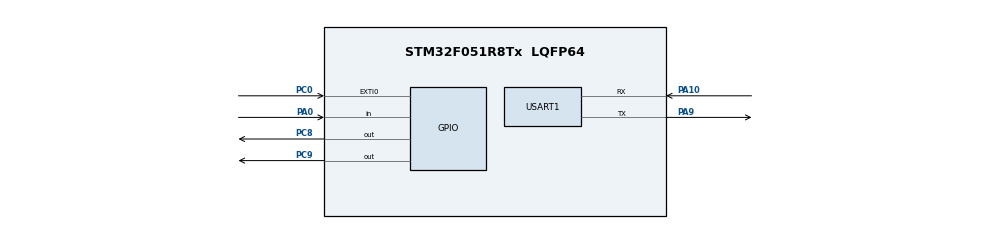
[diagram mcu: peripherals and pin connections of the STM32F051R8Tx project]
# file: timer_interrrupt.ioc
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Mcu.Family=STM32F0
Mcu.Name=STM32F051R8Tx
Mcu.Package=LQFP64
NVIC.EXTI0_1_IRQn=true\:0\:0\:false\:true\:true\:2\:true\:true
NVIC.TIM6_DAC_IRQn=true\:0\:0\:false\:true\:true\:1\:true\:true
PA0.Signal=GPIO_Input
PA10.Mode=Asynchronous
PA10.Signal=USART1_RX
PA13.Mode=Serial_Wire
PA13.Signal=SYS_SWDIO
PA14.Mode=Serial_Wire
PA14.Signal=SYS_SWCLK
PA9.Mode=Asynchronous
PA9.Signal=USART1_TX
PC0.GPIO_PuPd=GPIO_PULLUP
PC0.Signal=GPXTI0
PC8.Signal=GPIO_Output
PC9.Signal=GPIO_Output
ProjectManager.HeapSize=0x200
ProjectManager.StackSize=0x400
ProjectManager.TargetToolchain=MDK-ARM V5.27
TIM6.AutoReloadPreload=TIM_AUTORELOAD_PRELOAD_ENABLE
TIM6.Period=9990
TIM6.Prescaler=7999
USART1.VirtualMode-Asynchronous=VM_ASYNC
VP_TIM6_VS_ClockSourceINT.Mode=Enable_Timer
board=custom

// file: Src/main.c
/* USER CODE BEGIN Header */
/**
  ******************************************************************************
  * @file           : main.c
  * @brief          : Main program body
  ******************************************************************************
  * @attention
  *
  * <h2><center>&copy; Copyright (c) 2020 STMicroelectronics.
  * All rights reserved.</center></h2>
  *
  * This software component is licensed by ST under BSD 3-Clause license,
  * the "License"; You may not use this file except in compliance with the
  * License. You may obtain a copy of the License at:
  *                        opensource.org/licenses/BSD-3-Clause
  *
  ******************************************************************************
  */
/* USER CODE END Header */

#include "main.h"

TIM_HandleTypeDef htim6;

UART_HandleTypeDef huart1;

void SystemClock_Config(void);
static void MX_GPIO_Init(void);
static void MX_TIM6_Init(void);
static void MX_USART1_UART_Init(void);
static void MX_NVIC_Init(void);
/* USER CODE BEGIN PFP */

int step = 0;

/* USER CODE END PFP */

/* USER CODE BEGIN 0 */
void HAL_GPIO_EXTI_Callback(uint16_t GPIO_Pin)
{
	HAL_GPIO_WritePin(GPIOC, GPIO_PIN_9,GPIO_PIN_SET);
	HAL_TIM_Base_Start_IT(&htim6);
	HAL_Delay(10);
}

void HAL_TIM_PeriodElapsedCallback(TIM_HandleTypeDef *htim)
{
	if(htim->Instance == TIM6){
		if (step < 3){
			step++;
			HAL_GPIO_TogglePin(GPIOC, GPIO_PIN_8);
		}
		else{
			HAL_GPIO_WritePin(GPIOC, GPIO_PIN_8,GPIO_PIN_RESET);
			HAL_GPIO_WritePin(GPIOC, GPIO_PIN_9,GPIO_PIN_RESET);
			step = 0;
			HAL_TIM_Base_Stop_IT(&htim6);
		}
	}
}

/* USER CODE END 0 */

int main(void)
{

  /* MCU Configuration--------------------------------------------------------*/

  /* Reset of all peripherals, Initializes the Flash interface and the Systick. */
  HAL_Init();

  /* Configure the system clock */
  SystemClock_Config();

  /* Initialize all configured peripherals */
  MX_GPIO_Init();
  MX_TIM6_Init();
  MX_USART1_UART_Init();

  /* Initialize interrupts */
  MX_NVIC_Init();
  /* USER CODE BEGIN 2 */
	//HAL_TIM_Base_Start_IT(&htim6);
  /* USER CODE END 2 */

  /* Infinite loop */
  while (1)
  {

  }
}

void SystemClock_Config(void)
{
  RCC_OscInitTypeDef RCC_OscInitStruct = {0};
  RCC_ClkInitTypeDef RCC_ClkInitStruct = {0};
  RCC_PeriphCLKInitTypeDef PeriphClkInit = {0};

  /** Initializes the CPU, AHB and APB busses clocks
  */
  RCC_OscInitStruct.OscillatorType = RCC_OSCILLATORTYPE_HSI;
  RCC_OscInitStruct.HSIState = RCC_HSI_ON;
  RCC_OscInitStruct.HSICalibrationValue = RCC_HSICALIBRATION_DEFAULT;
  RCC_OscInitStruct.PLL.PLLState = RCC_PLL_NONE;
  if (HAL_RCC_OscConfig(&RCC_OscInitStruct) != HAL_OK)
  {
    Error_Handler();
  }
  /** Initializes the CPU, AHB and APB busses clocks
  */
  RCC_ClkInitStruct.ClockType = RCC_CLOCKTYPE_HCLK|RCC_CLOCKTYPE_SYSCLK
                              |RCC_CLOCKTYPE_PCLK1;
  RCC_ClkInitStruct.SYSCLKSource = RCC_SYSCLKSOURCE_HSI;
  RCC_ClkInitStruct.AHBCLKDivider = RCC_SYSCLK_DIV1;
  RCC_ClkInitStruct.APB1CLKDivider = RCC_HCLK_DIV1;

  if (HAL_RCC_ClockConfig(&RCC_ClkInitStruct, FLASH_LATENCY_0) != HAL_OK)
  {
    Error_Handler();
  }
  PeriphClkInit.PeriphClockSelection = RCC_PERIPHCLK_USART1;
  PeriphClkInit.Usart1ClockSelection = RCC_USART1CLKSOURCE_PCLK1;
  if (HAL_RCCEx_PeriphCLKConfig(&PeriphClkInit) != HAL_OK)
  {
    Error_Handler();
  }
}

/**
  * @brief NVIC Configuration.
  * @retval None
  */
static void MX_NVIC_Init(void)
{
  /* TIM6_DAC_IRQn interrupt configuration */
  HAL_NVIC_SetPriority(TIM6_DAC_IRQn, 0, 0);
  HAL_NVIC_EnableIRQ(TIM6_DAC_IRQn);
  /* EXTI0_1_IRQn interrupt configuration */
  HAL_NVIC_SetPriority(EXTI0_1_IRQn, 2, 0);
  HAL_NVIC_EnableIRQ(EXTI0_1_IRQn);
}

static void MX_TIM6_Init(void)
{

  TIM_MasterConfigTypeDef sMasterConfig = {0};

  htim6.Instance = TIM6;
  htim6.Init.Prescaler = 7999;
  htim6.Init.CounterMode = TIM_COUNTERMODE_UP;
  htim6.Init.Period = 999;
	htim6.Init.AutoReloadPreload = TIM_AUTOMATICOUTPUT_DISABLE;
  //htim6.Init.AutoReloadPreload = TIM_AUTORELOAD_PRELOAD_ENABLE;
  if (HAL_TIM_Base_Init(&htim6) != HAL_OK)
  {
    Error_Handler();
  }
  sMasterConfig.MasterOutputTrigger = TIM_TRGO_RESET;
  sMasterConfig.MasterSlaveMode = TIM_MASTERSLAVEMODE_DISABLE;
  if (HAL_TIMEx_MasterConfigSynchronization(&htim6, &sMasterConfig) != HAL_OK)
  {
    Error_Handler();
  }

}

static void MX_USART1_UART_Init(void)
{

  huart1.Instance = USART1;
  huart1.Init.BaudRate = 38400;
  huart1.Init.WordLength = UART_WORDLENGTH_8B;
  huart1.Init.StopBits = UART_STOPBITS_1;
  huart1.Init.Parity = UART_PARITY_NONE;
  huart1.Init.Mode = UART_MODE_TX_RX;
  huart1.Init.HwFlowCtl = UART_HWCONTROL_NONE;
  huart1.Init.OverSampling = UART_OVERSAMPLING_16;
  huart1.Init.OneBitSampling = UART_ONE_BIT_SAMPLE_DISABLE;
  huart1.AdvancedInit.AdvFeatureInit = UART_ADVFEATURE_NO_INIT;
  if (HAL_UART_Init(&huart1) != HAL_OK)
  {
    Error_Handler();
  }

}

static void MX_GPIO_Init(void)
{
  GPIO_InitTypeDef GPIO_InitStruct = {0};

  /* GPIO Ports Clock Enable */
  __HAL_RCC_GPIOC_CLK_ENABLE();
  __HAL_RCC_GPIOA_CLK_ENABLE();

  /*Configure GPIO pin Output Level */
  HAL_GPIO_WritePin(GPIOC, GPIO_PIN_8|GPIO_PIN_9, GPIO_PIN_RESET);

  /*Configure GPIO pin : PC0 */
  GPIO_InitStruct.Pin = GPIO_PIN_0;
  GPIO_InitStruct.Mode = GPIO_MODE_IT_RISING;
  GPIO_InitStruct.Pull = GPIO_PULLUP;
  HAL_GPIO_Init(GPIOC, &GPIO_InitStruct);

  /*Configure GPIO pin : PA0 */
  GPIO_InitStruct.Pin = GPIO_PIN_0;
  GPIO_InitStruct.Mode = GPIO_MODE_INPUT;
  GPIO_InitStruct.Pull = GPIO_NOPULL;
  HAL_GPIO_Init(GPIOA, &GPIO_InitStruct);

  /*Configure GPIO pins : PC8 PC9 */
  GPIO_InitStruct.Pin = GPIO_PIN_8|GPIO_PIN_9;
  GPIO_InitStruct.Mode = GPIO_MODE_OUTPUT_PP;
  GPIO_InitStruct.Pull = GPIO_NOPULL;
  GPIO_InitStruct.Speed = GPIO_SPEED_FREQ_LOW;
  HAL_GPIO_Init(GPIOC, &GPIO_InitStruct);

}

void Error_Handler(void)
{
}

/************************ (C) COPYRIGHT STMicroelectronics *****END OF FILE****/
